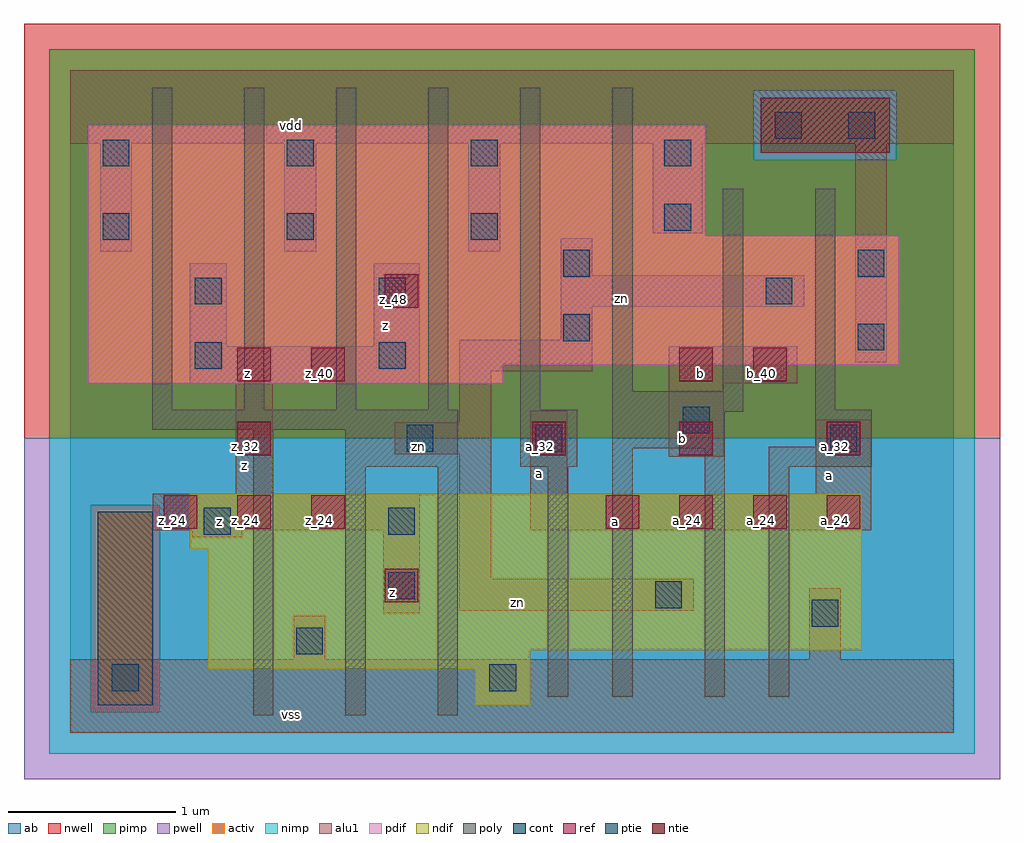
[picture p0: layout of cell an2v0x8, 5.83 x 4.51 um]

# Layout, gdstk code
import gdstk
lib = gdstk.Library(unit=1e-6, precision=2.5e-09)
def R(c, l, rs):  # rectangles x0, y0, x1, y1
    for r in rs: c.add(gdstk.rectangle(r[:2], r[2:], *l))
def A(c, l, x, y, w, h, nx, ny, dx, dy):  # array of equal rectangles
    R(c, l, [(x+i*dx, y+j*dy, x+i*dx+w, y+j*dy+h) for i in range(nx) for j in range(ny)])
ndif = (3, 0)
pdif = (4, 0)
ntie = (5, 0)
ptie = (6, 0)
ref = (24, 0)
cont = (25, 0)
pwell = (41, 0)
nwell = (42, 0)
activ = (43, 0)
pimp = (44, 0)
nimp = (45, 0)
poly = (46, 0)
alu1 = (49, 0)
ab = (63, 0)

an2v0x8 = lib.new_cell('an2v0x8')
R(an2v0x8, ndif, [(2.42,0.165,2.75,0.385), (0.825,0.385,2.75,0.495), (0.825,0.495,4.73,1.1), (0.715,1.1,4.73,1.43)])
R(an2v0x8, pdif, [(0.11,2.09,2.585,2.2), (0.11,2.2,4.95,2.97), (0.11,2.97,3.795,3.63)])
R(an2v0x8, ntie, [(4.125,3.465,4.895,3.795)])
R(an2v0x8, ptie, [(0.165,0.165,0.495,1.32)])
A(an2v0x8, ref, 0.56, 1.22, 0.2, 0.2, 3, 1, 0.44, 0)
A(an2v0x8, ref, 3.2, 1.22, 0.2, 0.2, 4, 1, 0.44, 0)
A(an2v0x8, ref, 2.76, 1.66, 0.2, 0.2, 3, 1, 0.88, 0)
R(an2v0x8, ref, [(1.88,0.78,2.08,0.98), (1,1.66,1.2,1.86), (1,2.1,1.2,2.3), (1.44,2.1,1.64,2.3), (3.64,2.1,3.84,2.3), (4.08,2.1,4.28,2.3), (1.88,2.54,2.08,2.74)])
A(an2v0x8, cont, 0.195, 2.945, 0.16, 0.16, 3, 2, 1.1, 0.44)
R(an2v0x8, cont, [(0.25,0.25,0.41,0.41), (2.505,0.25,2.665,0.41), (1.35,0.47,1.51,0.63), (4.43,0.635,4.59,0.795), (3.495,0.745,3.655,0.905), (1.9,0.8,2.06,0.96), (0.8,1.185,0.96,1.345), (1.9,1.185,2.06,1.345), (2.01,1.68,2.17,1.84), (2.78,1.68,2.94,1.84), (4.54,1.68,4.7,1.84), (3.66,1.79,3.82,1.95), (0.745,2.175,0.905,2.335), (1.845,2.175,2.005,2.335), (4.705,2.285,4.865,2.445), (2.945,2.34,3.105,2.5), (0.745,2.56,0.905,2.72), (1.845,2.56,2.005,2.72), (4.155,2.56,4.315,2.72), (2.945,2.725,3.105,2.885), (4.705,2.725,4.865,2.885), (3.55,3,3.71,3.16), (3.55,3.385,3.71,3.545), (4.21,3.55,4.37,3.71), (4.65,3.55,4.81,3.71)])
R(an2v0x8, pwell, [(-0.275,-0.275,5.555,1.76)])
R(an2v0x8, nwell, [(-0.275,1.76,5.555,4.235)])
R(an2v0x8, activ, [(0.165,0.165,0.495,1.32), (2.42,0.165,2.75,0.385), (0.825,0.385,2.75,0.495), (0.825,0.495,4.73,1.1), (0.715,1.1,4.73,1.43), (0.11,2.09,2.585,2.2), (0.11,2.2,4.95,2.97), (0.11,2.97,3.795,3.63), (4.125,3.465,4.895,3.795)])
R(an2v0x8, pimp, [(0.125,0.125,0.535,1.36), (-0.125,1.76,5.405,3.425), (-0.125,3.425,4.085,3.835), (4.935,3.425,5.405,3.835), (-0.125,3.835,5.405,4.085)])
R(an2v0x8, nimp, [(-0.125,-0.125,5.405,0.125), (-0.125,0.125,0.125,1.36), (0.535,0.125,5.405,1.36), (-0.125,1.36,5.405,1.76), (4.085,3.425,4.935,3.835)])
A(an2v0x8, poly, 0.49, 1.93, 0.12, 1.925, 5, 1, 0.55, 0)
R(an2v0x8, poly, [(1.095,0.105,1.215,1.81), (1.645,0.105,1.765,1.59), (2.195,0.105,2.315,1.59), (2.855,0.215,2.975,1.59), (3.24,0.215,3.36,1.7), (3.79,0.215,3.91,1.7), (4.175,0.215,4.295,1.59), (1.645,1.59,2.315,1.81), (2.69,1.59,3.03,1.93), (4.175,1.59,4.79,1.71), (3.24,1.7,3.91,1.92), (4.45,1.71,4.79,1.93), (0.49,1.81,2.315,1.93), (3.24,1.92,4.02,2.04), (4.45,1.93,4.57,3.25), (3.24,2.04,3.36,3.855), (3.9,2.04,4.02,3.25)])
A(an2v0x8, alu1, 0.18, 2.875, 0.19, 0.645, 3, 1, 1.1, 0)
R(an2v0x8, alu1, [(0,0,5.28,0.44), (1.335,0.44,1.525,0.7), (4.415,0.44,4.605,0.865), (1.87,0.715,2.09,1.21), (2.325,0.73,3.725,0.92), (2.325,0.92,2.515,1.665), (0.73,1.17,1.03,1.21), (0.495,1.21,2.09,1.43), (2.75,1.21,4.785,1.43), (0.99,1.43,1.21,2.09), (2.75,1.43,2.97,1.925), (4.455,1.43,4.785,1.87), (3.575,1.65,3.905,2.09), (1.94,1.665,2.515,1.855), (2.325,1.855,2.515,2.16), (0.715,2.09,2.09,2.31), (3.575,2.09,4.345,2.31), (2.325,2.16,3.12,2.35), (4.69,2.215,4.88,3.52), (0.715,2.31,0.935,2.805), (1.815,2.31,2.09,2.805), (2.93,2.35,3.12,2.545), (2.93,2.545,4.385,2.735), (2.93,2.735,3.12,2.955), (3.48,2.985,3.78,3.52), (0,3.52,5.28,3.96)])
R(an2v0x8, ab, [(0,0,5.28,3.96)])
an2v0x8.add(gdstk.Label('vss', (1.32,0.11), layer=49, texttype=0))
an2v0x8.add(gdstk.Label('zn', (2.675,0.7775), layer=49, texttype=0))
an2v0x8.add(gdstk.Label('a', (3.2575,1.265), layer=49, texttype=0))
an2v0x8.add(gdstk.Label('a', (4.5375,1.54), layer=49, texttype=0))
an2v0x8.add(gdstk.Label('b', (3.6575,1.76), layer=49, texttype=0))
an2v0x8.add(gdstk.Label('a', (2.805,1.5525), layer=49, texttype=0))
an2v0x8.add(gdstk.Label('z', (1.925,0.8375), layer=49, texttype=0))
an2v0x8.add(gdstk.Label('z', (0.8925,1.265), layer=49, texttype=0))
an2v0x8.add(gdstk.Label('zn', (2.0825,1.7125), layer=49, texttype=0))
an2v0x8.add(gdstk.Label('b', (3.7675,2.145), layer=49, texttype=0))
an2v0x8.add(gdstk.Label('z', (1.045,1.595), layer=49, texttype=0))
an2v0x8.add(gdstk.Label('z', (1.0575,2.145), layer=49, texttype=0))
an2v0x8.add(gdstk.Label('zn', (3.2925,2.5925), layer=49, texttype=0))
an2v0x8.add(gdstk.Label('z', (1.8825,2.4325), layer=49, texttype=0))
an2v0x8.add(gdstk.Label('vdd', (1.32,3.63), layer=49, texttype=0))
an2v0x8.add(gdstk.Label('z_24', (0.61,1.27), layer=24, texttype=0))
an2v0x8.add(gdstk.Label('z_24', (1.05,1.27), layer=24, texttype=0))
an2v0x8.add(gdstk.Label('z_32', (1.05,1.71), layer=24, texttype=0))
an2v0x8.add(gdstk.Label('z_40', (1.05,2.15), layer=24, texttype=0))
an2v0x8.add(gdstk.Label('z_24', (1.49,1.27), layer=24, texttype=0))
an2v0x8.add(gdstk.Label('z_40', (1.49,2.15), layer=24, texttype=0))
an2v0x8.add(gdstk.Label('z_16', (1.93,0.83), layer=24, texttype=0))
an2v0x8.add(gdstk.Label('z_48', (1.93,2.59), layer=24, texttype=0))
an2v0x8.add(gdstk.Label('a_32', (2.81,1.71), layer=24, texttype=0))
an2v0x8.add(gdstk.Label('a_24', (3.25,1.27), layer=24, texttype=0))
an2v0x8.add(gdstk.Label('a_24', (3.69,1.27), layer=24, texttype=0))
an2v0x8.add(gdstk.Label('b_32', (3.69,1.71), layer=24, texttype=0))
an2v0x8.add(gdstk.Label('b_40', (3.69,2.15), layer=24, texttype=0))
an2v0x8.add(gdstk.Label('a_24', (4.13,1.27), layer=24, texttype=0))
an2v0x8.add(gdstk.Label('b_40', (4.13,2.15), layer=24, texttype=0))
an2v0x8.add(gdstk.Label('a_24', (4.57,1.27), layer=24, texttype=0))
an2v0x8.add(gdstk.Label('a_32', (4.57,1.71), layer=24, texttype=0))

lib.write_gds('an2v0x8.gds')
